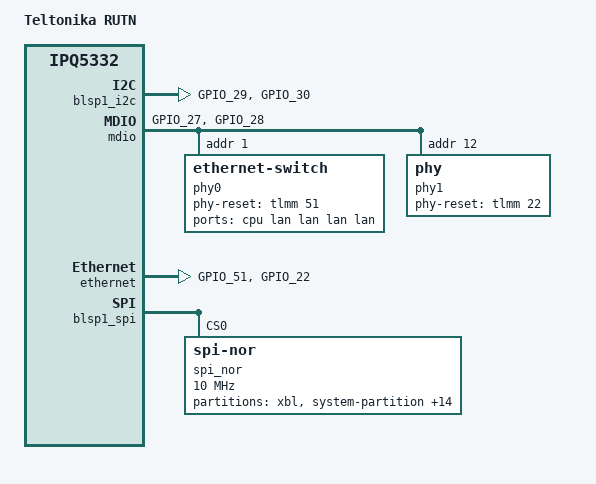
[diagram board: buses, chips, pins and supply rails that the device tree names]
// SPDX-License-Identifier: GPL-2.0-only
/*
* Copyright (c) 2023, Qualcomm Innovation Center, Inc. All rights reserved.
*/

#include "ipq5332-default.dts"

/ {
	model = "Teltonika RUTN";
	compatible = "teltonika,rutn", "qcom,ipq5332";

	soc: soc {
		tlmm: pinctrl@1000000 {
			mdio_pinmux: mdio {
				mdc {
					pins = "GPIO_27";
					function = "mdc_1";
					drive-strength = <DRIVE_STRENGTH_2MA>;
					bias-pull-up;
				};

				mdio {
					pins = "GPIO_28";
					function = "mdio_1";
					drive-strength = <DRIVE_STRENGTH_2MA>;
					bias-pull-up;
				};
			};

			phy_rst_pinmux: phy_rst {
				qti_8x8x_rst {
					pins = "GPIO_51";
					drive-strength = <DRIVE_STRENGTH_8MA>;
					bias-pull-up;
				};

				qti_8081_rst {
					pins = "GPIO_22";
					drive-strength = <DRIVE_STRENGTH_8MA>;
					bias-pull-up;
				};
			};

			blsp1_i2c_pinmux: blsp1_i2c_pins {
				blsp1_scl {
					pins = "GPIO_29";
					function = "blsp1_i2c_scl0";
					drive-strength = <DRIVE_STRENGTH_8MA>;
					bias-pull-up;
				};

				blsp1_sda {
					pins = "GPIO_30";
					function = "blsp1_i2c_sda0";
					drive-strength = <DRIVE_STRENGTH_8MA>;
					bias-pull-up;
				};
			};
		};

		blsp1_i2c: i2c@78B6000 {
			pinctrl-names = "default";
			pinctrl-0 = <&blsp1_i2c_pinmux>;
			status = "okay";
		};

		mdio: mdio@90000 {
			pinctrl-names = "default";
			pinctrl-0 = <&mdio_pinmux>;
			status = "okay";

			phy0: ethernet-switch@1 {
				phy-reset-gpio = <&tlmm 51 0>;
				dev-mode = <0x1>;
				reg = <1>;
				phy_id = <QCA8x8x_SWITCH_TYPE>;
				id = <1>;
				uniphy_id = <0>;
				uniphy_type = <0>;
				max_speed = <2500>;
				force-speed;
				xgmac;
				ports {
					#address-cells = <1>;
					#size-cells = <0>;

					port0: port@0 {
						reg = <0>;
						label = "cpu";
						phy-mode = "sgmii-2500";
						fixed-link {
							speed = <2500>;
							full-duplex;
						};
					};

					port1: port@1 {
						reg = <1>;
						label = "lan";
					};

					port2: port@2 {
						reg = <2>;
						label = "lan";
					};

					port3: port@3 {
						reg = <3>;
						label = "lan";
					};

					port4: port@4 {
						reg = <4>;
						label = "lan";
					};
				};
			};

			phy1: phy@12 {
				phy-reset-gpio = <&tlmm 22 0>;
				reg = <12>;
				phy_id = <QCA8081_PHY_TYPE>;
				id = <2>;
				uniphy_id = <1>;
				uniphy_type = <0>;
				max_speed = <2500>;
				xgmac;
			};
		};

		ethernet: nss-switch {
			pinctrl-names = "default";
			pinctrl-0 = <&phy_rst_pinmux>;
			phy-handle0 = <&phy0>;
			phy-handle1 = <&phy1>;
			status = "okay";
		};
	};
};

&blsp1_spi {
	spi_nor@0 {
		#address-cells = <1>;
		#size-cells = <1>;
		compatible = "jedec,spi-nor";
		reg = <0>;
		spi-max-frequency = <10000000>;
		
		partitions {
			compatible = "fixed-partitions";
			#address-cells = <1>;
			#size-cells = <1>;

			partition@00000 {
				label = "xbl";
				reg = <0x00000 0x80000>;
			};

			partition@80000 {
				label = "system-partition";
				reg = <0x80000 0x10000>;
			};

			partition@90000 {
				label = "bootconfig";
				reg = <0x90000 0x10000>;
			};

			partition@a0000 {
				label = "qsee";
				reg = <0xa0000 0x170000>;
			};

			partition@210000 {
				label = "devcfg";
				reg = <0x210000 0x10000>;
			};

			partition@220000 {
				label = "tmel";
				reg = <0x220000 0x20000>;
			};

			partition@240000 {
				label = "cdt";
				reg = <0x240000 0x10000>;
			};

			partition@250000 {
				label = "u-boot-env";
				reg = <0x250000 0x10000>;
			};

			partition@260000 {
				label = "u-boot";
				reg = <0x260000 0x90000>;
			};

			partition@2f0000 {
				label = "bootconfig1";
				reg = <0x2f0000 0x10000>;
			};

			partition@300000 {
				label = "art";
				reg = <0x300000 0x100000>;
			};

			partition@400000 {
				label = "config";
				reg = <0x400000 0x10000>;
			};

			partition@410000 {
				label = "bootconfig-a";
				reg = <0x410000 0x10000>;
			};

			partition@420000 {
				label = "bootconfig-b";
				reg = <0x420000 0x10000>;
			};

			partition@430000 {
				label = "_event-log";
				reg = <0x430000 0x90000>;
			};

			partition@4c0000 {
				label = "recovery";
				reg = <0x4c0000 0xb40000>;
			};
		};
	};
};
